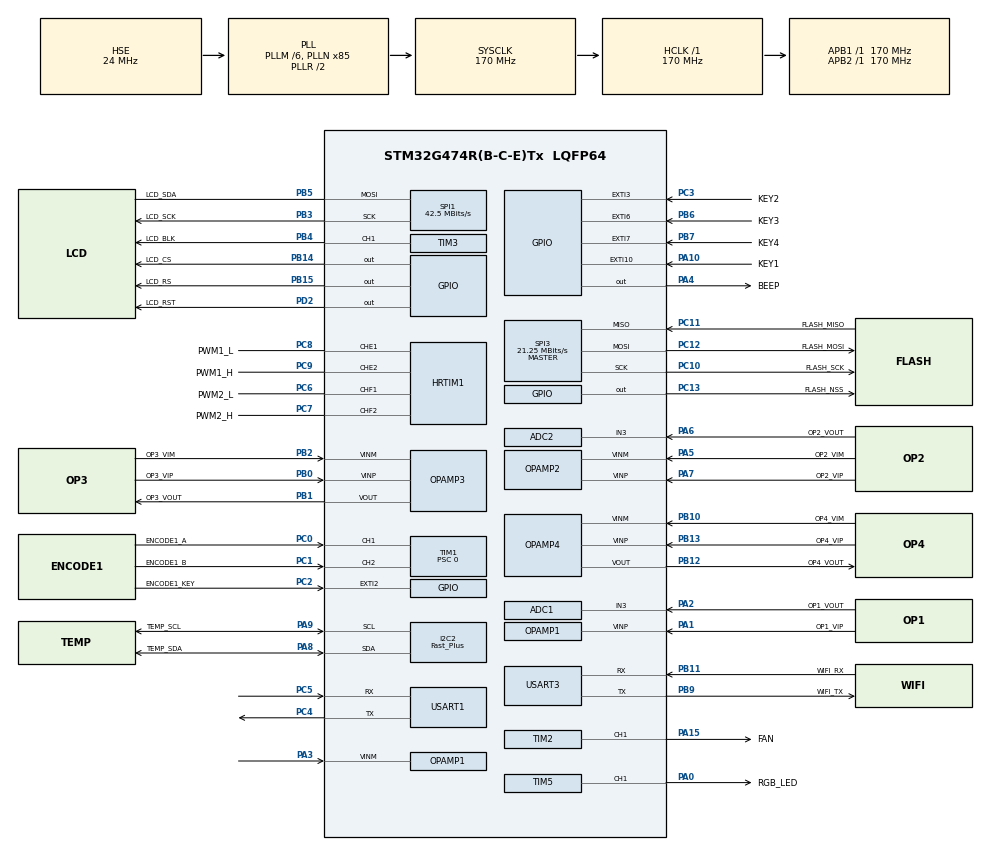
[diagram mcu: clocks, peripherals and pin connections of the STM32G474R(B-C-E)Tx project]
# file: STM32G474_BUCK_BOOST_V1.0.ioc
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ADC1.Channel-1\#ChannelRegularConversion=ADC_CHANNEL_3
ADC1.ContinuousConvMode=ENABLE
ADC1.DMAContinuousRequests=DISABLE
ADC1.EOCSelection=ADC_EOC_SEQ_CONV
ADC1.NbrOfConversion=1
ADC1.NbrOfConversionFlag=1
ADC1.OffsetNumber-1\#ChannelRegularConversion=ADC_OFFSET_NONE
ADC1.Rank-1\#ChannelRegularConversion=1
ADC1.SamplingTime-1\#ChannelRegularConversion=ADC_SAMPLETIME_47CYCLES_5
ADC1.master=1
ADC2.Channel-0\#ChannelRegularConversion=ADC_CHANNEL_3
ADC2.ContinuousConvMode=ENABLE
ADC2.DMAContinuousRequests=DISABLE
ADC2.NbrOfConversionFlag=1
ADC2.OffsetNumber-0\#ChannelRegularConversion=ADC_OFFSET_NONE
ADC2.Rank-0\#ChannelRegularConversion=1
ADC2.SamplingTime-0\#ChannelRegularConversion=ADC_SAMPLETIME_47CYCLES_5
ADC3.Channel-0\#ChannelRegularConversion=ADC_CHANNEL_1
ADC3.ContinuousConvMode=ENABLE
ADC3.DMAContinuousRequests=DISABLE
ADC3.NbrOfConversionFlag=1
ADC3.OffsetNumber-0\#ChannelRegularConversion=ADC_OFFSET_NONE
ADC3.Rank-0\#ChannelRegularConversion=1
ADC3.SamplingTime-0\#ChannelRegularConversion=ADC_SAMPLETIME_47CYCLES_5
ADC3.master=1
ADC4.Channel-0\#ChannelRegularConversion=ADC_CHANNEL_3
ADC4.ContinuousConvMode=ENABLE
ADC4.DMAContinuousRequests=DISABLE
ADC4.NbrOfConversionFlag=1
ADC4.OffsetNumber-0\#ChannelRegularConversion=ADC_OFFSET_NONE
ADC4.Rank-0\#ChannelRegularConversion=1
ADC4.SamplingTime-0\#ChannelRegularConversion=ADC_SAMPLETIME_47CYCLES_5
ADC5.Channel-0\#ChannelRegularConversion=ADC_CHANNEL_TEMPSENSOR_ADC5
ADC5.ContinuousConvMode=ENABLE
ADC5.DMAContinuousRequests=DISABLE
ADC5.EOCSelection=ADC_EOC_SINGLE_CONV
ADC5.NbrOfConversionFlag=1
ADC5.OffsetNumber-0\#ChannelRegularConversion=ADC_OFFSET_NONE
ADC5.Rank-0\#ChannelRegularConversion=1
ADC5.SamplingTime-0\#ChannelRegularConversion=ADC_SAMPLETIME_247CYCLES_5
Dma.ADC1.4.Direction=DMA_PERIPH_TO_MEMORY
Dma.ADC1.4.EventEnable=DISABLE
Dma.ADC1.4.Instance=DMA2_Channel1
Dma.ADC1.4.MemDataAlignment=DMA_MDATAALIGN_WORD
Dma.ADC1.4.MemInc=DMA_MINC_ENABLE
Dma.ADC1.4.Mode=DMA_NORMAL
Dma.ADC1.4.PeriphDataAlignment=DMA_PDATAALIGN_WORD
Dma.ADC1.4.PeriphInc=DMA_PINC_DISABLE
Dma.ADC1.4.Polarity=HAL_DMAMUX_REQ_GEN_RISING
Dma.ADC1.4.Priority=DMA_PRIORITY_VERY_HIGH
Dma.ADC1.4.RequestNumber=1
Dma.ADC1.4.SignalID=NONE
Dma.ADC1.4.SyncEnable=DISABLE
Dma.ADC1.4.SyncPolarity=HAL_DMAMUX_SYNC_NO_EVENT
Dma.ADC1.4.SyncRequestNumber=1
Dma.ADC1.4.SyncSignalID=NONE
Dma.ADC2.5.Direction=DMA_PERIPH_TO_MEMORY
Dma.ADC2.5.EventEnable=DISABLE
Dma.ADC2.5.Instance=DMA2_Channel2
Dma.ADC2.5.MemDataAlignment=DMA_MDATAALIGN_WORD
Dma.ADC2.5.MemInc=DMA_MINC_ENABLE
Dma.ADC2.5.Mode=DMA_NORMAL
Dma.ADC2.5.PeriphDataAlignment=DMA_PDATAALIGN_WORD
Dma.ADC2.5.PeriphInc=DMA_PINC_DISABLE
Dma.ADC2.5.Polarity=HAL_DMAMUX_REQ_GEN_RISING
Dma.ADC2.5.Priority=DMA_PRIORITY_VERY_HIGH
Dma.ADC2.5.RequestNumber=1
Dma.ADC2.5.SignalID=NONE
Dma.ADC2.5.SyncEnable=DISABLE
Dma.ADC2.5.SyncPolarity=HAL_DMAMUX_SYNC_NO_EVENT
Dma.ADC2.5.SyncRequestNumber=1
Dma.ADC2.5.SyncSignalID=NONE
Dma.ADC3.6.Direction=DMA_PERIPH_TO_MEMORY
Dma.ADC3.6.EventEnable=DISABLE
Dma.ADC3.6.Instance=DMA2_Channel3
Dma.ADC3.6.MemDataAlignment=DMA_MDATAALIGN_WORD
Dma.ADC3.6.MemInc=DMA_MINC_ENABLE
Dma.ADC3.6.Mode=DMA_NORMAL
Dma.ADC3.6.PeriphDataAlignment=DMA_PDATAALIGN_WORD
Dma.ADC3.6.PeriphInc=DMA_PINC_DISABLE
Dma.ADC3.6.Polarity=HAL_DMAMUX_REQ_GEN_RISING
Dma.ADC3.6.Priority=DMA_PRIORITY_VERY_HIGH
Dma.ADC3.6.RequestNumber=1
Dma.ADC3.6.SignalID=NONE
Dma.ADC3.6.SyncEnable=DISABLE
Dma.ADC3.6.SyncPolarity=HAL_DMAMUX_SYNC_NO_EVENT
Dma.ADC3.6.SyncRequestNumber=1
Dma.ADC3.6.SyncSignalID=NONE
Dma.ADC4.7.Direction=DMA_PERIPH_TO_MEMORY
Dma.ADC4.7.EventEnable=DISABLE
Dma.ADC4.7.Instance=DMA2_Channel4
Dma.ADC4.7.MemDataAlignment=DMA_MDATAALIGN_WORD
Dma.ADC4.7.MemInc=DMA_MINC_ENABLE
Dma.ADC4.7.Mode=DMA_NORMAL
Dma.ADC4.7.PeriphDataAlignment=DMA_PDATAALIGN_WORD
Dma.ADC4.7.PeriphInc=DMA_PINC_DISABLE
Dma.ADC4.7.Polarity=HAL_DMAMUX_REQ_GEN_RISING
Dma.ADC4.7.Priority=DMA_PRIORITY_VERY_HIGH
Dma.ADC4.7.RequestNumber=1
Dma.ADC4.7.SignalID=NONE
Dma.ADC4.7.SyncEnable=DISABLE
Dma.ADC4.7.SyncPolarity=HAL_DMAMUX_SYNC_NO_EVENT
Dma.ADC4.7.SyncRequestNumber=1
Dma.ADC4.7.SyncSignalID=NONE
Dma.ADC5.8.Direction=DMA_PERIPH_TO_MEMORY
Dma.ADC5.8.EventEnable=DISABLE
Dma.ADC5.8.Instance=DMA2_Channel5
Dma.ADC5.8.MemDataAlignment=DMA_MDATAALIGN_WORD
Dma.ADC5.8.MemInc=DMA_MINC_ENABLE
Dma.ADC5.8.Mode=DMA_NORMAL
Dma.ADC5.8.PeriphDataAlignment=DMA_PDATAALIGN_WORD
Dma.ADC5.8.PeriphInc=DMA_PINC_DISABLE
Dma.ADC5.8.Polarity=HAL_DMAMUX_REQ_GEN_RISING
Dma.ADC5.8.Priority=DMA_PRIORITY_VERY_HIGH
Dma.ADC5.8.RequestNumber=1
Dma.ADC5.8.SignalID=NONE
Dma.ADC5.8.SyncEnable=DISABLE
Dma.ADC5.8.SyncPolarity=HAL_DMAMUX_SYNC_NO_EVENT
Dma.ADC5.8.SyncRequestNumber=1
Dma.ADC5.8.SyncSignalID=NONE
Dma.I2C2_RX.10.Direction=DMA_PERIPH_TO_MEMORY
Dma.I2C2_RX.10.EventEnable=DISABLE
Dma.I2C2_RX.10.Instance=DMA1_Channel6
Dma.I2C2_RX.10.MemDataAlignment=DMA_MDATAALIGN_BYTE
Dma.I2C2_RX.10.MemInc=DMA_MINC_ENABLE
Dma.I2C2_RX.10.Mode=DMA_NORMAL
Dma.I2C2_RX.10.PeriphDataAlignment=DMA_PDATAALIGN_BYTE
Dma.I2C2_RX.10.PeriphInc=DMA_PINC_DISABLE
Dma.I2C2_RX.10.Polarity=HAL_DMAMUX_REQ_GEN_RISING
Dma.I2C2_RX.10.Priority=DMA_PRIORITY_LOW
Dma.I2C2_RX.10.RequestNumber=1
Dma.I2C2_RX.10.SignalID=NONE
Dma.I2C2_RX.10.SyncEnable=DISABLE
Dma.I2C2_RX.10.SyncPolarity=HAL_DMAMUX_SYNC_NO_EVENT
Dma.I2C2_RX.10.SyncRequestNumber=1
Dma.I2C2_RX.10.SyncSignalID=NONE
Dma.Request0=USART1_RX
Dma.Request1=SPI3_TX
Dma.Request10=I2C2_RX
Dma.Request2=SPI3_RX
Dma.Request3=SPI1_TX
Dma.Request4=ADC1
Dma.Request5=ADC2
Dma.Request6=ADC3
Dma.Request7=ADC4
Dma.Request8=ADC5
Dma.Request9=TIM5_CH1
Dma.SPI1_TX.3.Direction=DMA_MEMORY_TO_PERIPH
Dma.SPI1_TX.3.EventEnable=DISABLE
Dma.SPI1_TX.3.Instance=DMA1_Channel4
Dma.SPI1_TX.3.MemDataAlignment=DMA_MDATAALIGN_BYTE
Dma.SPI1_TX.3.MemInc=DMA_MINC_ENABLE
Dma.SPI1_TX.3.Mode=DMA_NORMAL
Dma.SPI1_TX.3.PeriphDataAlignment=DMA_PDATAALIGN_BYTE
Dma.SPI1_TX.3.PeriphInc=DMA_PINC_DISABLE
Dma.SPI1_TX.3.Polarity=HAL_DMAMUX_REQ_GEN_RISING
Dma.SPI1_TX.3.Priority=DMA_PRIORITY_HIGH
Dma.SPI1_TX.3.RequestNumber=1
Dma.SPI1_TX.3.SignalID=NONE
Dma.SPI1_TX.3.SyncEnable=DISABLE
Dma.SPI1_TX.3.SyncPolarity=HAL_DMAMUX_SYNC_NO_EVENT
Dma.SPI1_TX.3.SyncRequestNumber=1
Dma.SPI1_TX.3.SyncSignalID=NONE
Dma.SPI3_RX.2.Direction=DMA_PERIPH_TO_MEMORY
Dma.SPI3_RX.2.EventEnable=DISABLE
Dma.SPI3_RX.2.Instance=DMA1_Channel3
Dma.SPI3_RX.2.MemDataAlignment=DMA_MDATAALIGN_BYTE
Dma.SPI3_RX.2.MemInc=DMA_MINC_ENABLE
Dma.SPI3_RX.2.Mode=DMA_NORMAL
Dma.SPI3_RX.2.PeriphDataAlignment=DMA_PDATAALIGN_BYTE
Dma.SPI3_RX.2.PeriphInc=DMA_PINC_DISABLE
Dma.SPI3_RX.2.Polarity=HAL_DMAMUX_REQ_GEN_RISING
Dma.SPI3_RX.2.Priority=DMA_PRIORITY_HIGH
Dma.SPI3_RX.2.RequestNumber=1
Dma.SPI3_RX.2.SignalID=NONE
Dma.SPI3_RX.2.SyncEnable=DISABLE
Dma.SPI3_RX.2.SyncPolarity=HAL_DMAMUX_SYNC_NO_EVENT
Dma.SPI3_RX.2.SyncRequestNumber=1
Dma.SPI3_RX.2.SyncSignalID=NONE
Dma.SPI3_TX.1.Direction=DMA_MEMORY_TO_PERIPH
Dma.SPI3_TX.1.EventEnable=DISABLE
Dma.SPI3_TX.1.Instance=DMA1_Channel2
Dma.SPI3_TX.1.MemDataAlignment=DMA_MDATAALIGN_BYTE
Dma.SPI3_TX.1.MemInc=DMA_MINC_ENABLE
Dma.SPI3_TX.1.Mode=DMA_NORMAL
Dma.SPI3_TX.1.PeriphDataAlignment=DMA_PDATAALIGN_BYTE
Dma.SPI3_TX.1.PeriphInc=DMA_PINC_DISABLE
Dma.SPI3_TX.1.Polarity=HAL_DMAMUX_REQ_GEN_RISING
Dma.SPI3_TX.1.Priority=DMA_PRIORITY_HIGH
Dma.SPI3_TX.1.RequestNumber=1
Dma.SPI3_TX.1.SignalID=NONE
Dma.SPI3_TX.1.SyncEnable=DISABLE
Dma.SPI3_TX.1.SyncPolarity=HAL_DMAMUX_SYNC_NO_EVENT
Dma.SPI3_TX.1.SyncRequestNumber=1
Dma.SPI3_TX.1.SyncSignalID=NONE
Dma.TIM5_CH1.9.Direction=DMA_MEMORY_TO_PERIPH
Dma.TIM5_CH1.9.EventEnable=DISABLE
Dma.TIM5_CH1.9.Instance=DMA1_Channel5
Dma.TIM5_CH1.9.MemDataAlignment=DMA_MDATAALIGN_BYTE
Dma.TIM5_CH1.9.MemInc=DMA_MINC_ENABLE
Dma.TIM5_CH1.9.Mode=DMA_NORMAL
Dma.TIM5_CH1.9.PeriphDataAlignment=DMA_PDATAALIGN_BYTE
Dma.TIM5_CH1.9.PeriphInc=DMA_PINC_DISABLE
Dma.TIM5_CH1.9.Polarity=HAL_DMAMUX_REQ_GEN_RISING
Dma.TIM5_CH1.9.Priority=DMA_PRIORITY_LOW
Dma.TIM5_CH1.9.RequestNumber=1
Dma.TIM5_CH1.9.SignalID=NONE
Dma.TIM5_CH1.9.SyncEnable=DISABLE
Dma.TIM5_CH1.9.SyncPolarity=HAL_DMAMUX_SYNC_NO_EVENT
Dma.TIM5_CH1.9.SyncRequestNumber=1
Dma.TIM5_CH1.9.SyncSignalID=NONE
Dma.USART1_RX.0.Direction=DMA_PERIPH_TO_MEMORY
Dma.USART1_RX.0.EventEnable=DISABLE
Dma.USART1_RX.0.Instance=DMA1_Channel1
Dma.USART1_RX.0.MemDataAlignment=DMA_MDATAALIGN_BYTE
Dma.USART1_RX.0.MemInc=DMA_MINC_ENABLE
Dma.USART1_RX.0.Mode=DMA_NORMAL
Dma.USART1_RX.0.PeriphDataAlignment=DMA_PDATAALIGN_BYTE
Dma.USART1_RX.0.PeriphInc=DMA_PINC_DISABLE
Dma.USART1_RX.0.Polarity=HAL_DMAMUX_REQ_GEN_RISING
Dma.USART1_RX.0.Priority=DMA_PRIORITY_HIGH
Dma.USART1_RX.0.RequestNumber=1
Dma.USART1_RX.0.SignalID=NONE
Dma.USART1_RX.0.SyncEnable=DISABLE
Dma.USART1_RX.0.SyncPolarity=HAL_DMAMUX_SYNC_NO_EVENT
Dma.USART1_RX.0.SyncRequestNumber=1
Dma.USART1_RX.0.SyncSignalID=NONE
HRTIM1.ADCTrigger_Id1=__NULL
HRTIM1.CompareUnit1-Output_TE1TE2=HRTIM_COMPAREUNIT_1
HRTIM1.CompareUnit1-Output_TF1TF2=HRTIM_COMPAREUNIT_1
HRTIM1.CompareUnit3-Output_TE1TE2=HRTIM_COMPAREUNIT_3
HRTIM1.CompareValue1-Output_TE1TE2=15000
HRTIM1.CompareValue1-Output_TF1TF2=300
HRTIM1.CompareValue3-Output_TE1TE2=7500
HRTIM1.DeadTimeInsertion-Output_TE1TE2=HRTIM_TIMDEADTIMEINSERTION_ENABLED
HRTIM1.DeadTimeInsertion-Output_TF1TF2=HRTIM_TIMDEADTIMEINSERTION_ENABLED
HRTIM1.FallingLock-Output_TE1TE2=HRTIM_TIMDEADTIME_FALLINGLOCK_READONLY
HRTIM1.FallingLock-Output_TF1TF2=HRTIM_TIMDEADTIME_FALLINGLOCK_READONLY
HRTIM1.FallingSignLock-Output_TE1TE2=HRTIM_TIMDEADTIME_FALLINGSIGNLOCK_READONLY
HRTIM1.FallingSignLock-Output_TF1TF2=HRTIM_TIMDEADTIME_FALLINGSIGNLOCK_READONLY
HRTIM1.FallingValue-Output_TE1TE2=100
HRTIM1.FallingValue-Output_TF1TF2=100
HRTIM1.FaultLock-Output_TE1TE2=HRTIM_TIMFAULTLOCK_READONLY
HRTIM1.FaultLock-Output_TF1TF2=HRTIM_TIMFAULTLOCK_READONLY
HRTIM1.NumberResetSource1-Output_TE1TE2=1
HRTIM1.NumberResetSource1-Output_TF1TF2=1
HRTIM1.NumberResetTrigger-Output_TE1TE2=1
HRTIM1.NumberResetTrigger-Output_TF1TF2=1
HRTIM1.NumberSetSource1-Output_TE1TE2=1
HRTIM1.NumberSetSource1-Output_TF1TF2=1
HRTIM1.Periode_MASTER=30000
HRTIM1.Periode_TE=30000
HRTIM1.Periode_TF=30000
HRTIM1.PreloadEnable-MasterTimer=HRTIM_PRELOAD_ENABLED
HRTIM1.PreloadEnable-Output_TE1TE2=HRTIM_PRELOAD_ENABLED
HRTIM1.PreloadEnable-Output_TF1TF2=HRTIM_PRELOAD_ENABLED
HRTIM1.RepetitionUpdate-MasterTimer=HRTIM_UPDATEONREPETITION_ENABLED
HRTIM1.RepetitionUpdate-Output_TE1TE2=HRTIM_UPDATEONREPETITION_ENABLED
HRTIM1.RepetitionUpdate-Output_TF1TF2=HRTIM_UPDATEONREPETITION_ENABLED
HRTIM1.ResetOutput1_Source1-Output_TE1TE2=HRTIM_OUTPUTRESET_TIMCMP3
HRTIM1.ResetOutput1_Source1-Output_TF1TF2=HRTIM_OUTPUTRESET_TIMCMP1
HRTIM1.ResetTrigger1-Output_TE1TE2=HRTIM_TIMRESETTRIGGER_MASTER_PER
HRTIM1.ResetTrigger1-Output_TF1TF2=HRTIM_TIMRESETTRIGGER_MASTER_PER
HRTIM1.RisingLock-Output_TE1TE2=HRTIM_TIMDEADTIME_RISINGLOCK_READONLY
HRTIM1.RisingLock-Output_TF1TF2=HRTIM_TIMDEADTIME_RISINGLOCK_READONLY
HRTIM1.RisingSignLock-Output_TE1TE2=HRTIM_TIMDEADTIME_RISINGSIGNLOCK_READONLY
HRTIM1.RisingSignLock-Output_TF1TF2=HRTIM_TIMDEADTIME_RISINGSIGNLOCK_READONLY
HRTIM1.RisingValue-Output_TE1TE2=100
HRTIM1.RisingValue-Output_TF1TF2=100
HRTIM1.SetOutput1_Source1-Output_TE1TE2=HRTIM_OUTPUTSET_TIMCMP1
HRTIM1.SetOutput1_Source1-Output_TF1TF2=HRTIM_OUTPUTSET_TIMPER
I2C2.CustomTiming=Disabled
I2C2.I2C_Fall_Time=0
I2C2.I2C_Rise_Time=0
I2C2.I2C_Speed_Mode=I2C_Fast_Plus
I2C2.Speed=1000
I2C2.Timing=0x00802172
Mcu.Family=STM32G4
Mcu.Name=STM32G474R(B-C-E)Tx
Mcu.Package=LQFP64
NVIC.DMA1_Channel1_IRQn=true\:0\:0\:true\:false\:true\:false\:true\:true
NVIC.DMA1_Channel2_IRQn=true\:0\:0\:false\:false\:true\:false\:true\:true
NVIC.DMA1_Channel3_IRQn=true\:0\:0\:false\:false\:true\:false\:true\:true
NVIC.DMA1_Channel4_IRQn=true\:0\:0\:false\:false\:true\:false\:true\:true
NVIC.DMA1_Channel5_IRQn=true\:0\:0\:false\:false\:true\:false\:true\:true
NVIC.DMA1_Channel6_IRQn=true\:0\:0\:false\:false\:true\:false\:true\:true
NVIC.DMA2_Channel1_IRQn=true\:6\:0\:true\:false\:true\:false\:true\:true
NVIC.DMA2_Channel2_IRQn=true\:6\:0\:true\:false\:true\:false\:true\:true
NVIC.DMA2_Channel3_IRQn=true\:6\:0\:true\:false\:true\:false\:true\:true
NVIC.DMA2_Channel4_IRQn=true\:6\:0\:true\:false\:true\:false\:true\:true
NVIC.DMA2_Channel5_IRQn=true\:6\:0\:true\:false\:true\:false\:true\:true
NVIC.EXTI15_10_IRQn=true\:15\:0\:true\:false\:true\:true\:true\:true
NVIC.EXTI2_IRQn=true\:15\:0\:true\:false\:true\:true\:true\:true
NVIC.EXTI3_IRQn=true\:15\:0\:true\:false\:true\:true\:true\:true
NVIC.EXTI9_5_IRQn=true\:15\:0\:true\:false\:true\:true\:true\:true
NVIC.I2C2_EV_IRQn=true\:10\:0\:true\:false\:true\:true\:true\:true
NVIC.PriorityGroup=NVIC_PRIORITYGROUP_4
NVIC.SPI1_IRQn=true\:0\:0\:false\:false\:true\:true\:true\:true
NVIC.TIM1_CC_IRQn=true\:0\:0\:false\:false\:true\:true\:true\:true
NVIC.TIM1_TRG_COM_TIM17_IRQn=true\:4\:0\:true\:false\:true\:true\:true\:true
NVIC.TIM1_UP_TIM16_IRQn=true\:3\:0\:true\:false\:true\:true\:true\:true
NVIC.TIM6_DAC_IRQn=true\:1\:0\:true\:false\:true\:true\:true\:true
NVIC.TIM7_DAC_IRQn=true\:2\:0\:true\:false\:true\:true\:true\:true
NVIC.USART1_IRQn=true\:5\:0\:true\:false\:true\:true\:true\:true
NVIC.USART3_IRQn=true\:11\:0\:true\:false\:true\:true\:true\:true
PA0.GPIO_Label=RGB_LED
PA0.Signal=S_TIM5_CH1
PA1.GPIO_Label=OP1_VIP
PA1.Mode=Standalone
PA1.Signal=OPAMP1_VINP
PA10.GPIO_Label=KEY1
PA10.GPIO_ModeDefaultEXTI=GPIO_MODE_IT_FALLING
PA10.GPIO_PuPd=GPIO_PULLUP
PA10.Signal=GPXTI10
PA13.Mode=Serial_Wire
PA13.Signal=SYS_JTMS-SWDIO
PA14.Mode=Serial_Wire
PA14.Signal=SYS_JTCK-SWCLK
PA15.GPIO_Label=FAN
PA15.Signal=S_TIM2_CH1
PA2.GPIO_Label=OP1_VOUT
PA2.Signal=SharedAnalog_PA2
PA3.Mode=Standalone
PA3.Signal=OPAMP1_VINM
PA4.GPIO_Label=BEEP
PA4.Signal=GPIO_Output
PA5.GPIO_Label=OP2_VIM
PA5.Mode=Standalone
PA5.Signal=OPAMP2_VINM
PA6.GPIO_Label=OP2_VOUT
PA6.Signal=SharedAnalog_PA6
PA7.GPIO_Label=OP2_VIP
PA7.Mode=Standalone
PA7.Signal=OPAMP2_VINP
PA8.GPIO_Label=TEMP_SDA
PA8.GPIO_Speed=GPIO_SPEED_FREQ_HIGH
PA8.Mode=I2C
PA8.Signal=I2C2_SDA
PA9.GPIO_Label=TEMP_SCL
PA9.GPIO_Speed=GPIO_SPEED_FREQ_HIGH
PA9.Mode=I2C
PA9.Signal=I2C2_SCL
PB0.GPIO_Label=OP3_VIP
PB0.Mode=Standalone
PB0.Signal=OPAMP3_VINP
PB1.GPIO_Label=OP3_VOUT
PB1.Signal=SharedAnalog_PB1
PB10.GPIO_Label=OP4_VIM
PB10.Mode=Standalone
PB10.Signal=OPAMP4_VINM
PB11.GPIO_Label=WIFI_RX
PB11.Mode=Asynchronous
PB11.Signal=USART3_RX
PB12.GPIO_Label=OP4_VOUT
PB12.Signal=SharedAnalog_PB12
PB13.GPIO_Label=OP4_VIP
PB13.Mode=Standalone
PB13.Signal=OPAMP4_VINP
PB14.GPIO_Label=LCD_CS
PB14.GPIO_Speed=GPIO_SPEED_FREQ_VERY_HIGH
PB14.PinState=GPIO_PIN_SET
PB14.Signal=GPIO_Output
PB15.GPIO_Label=LCD_RS
PB15.GPIO_Speed=GPIO_SPEED_FREQ_VERY_HIGH
PB15.PinState=GPIO_PIN_SET
PB15.Signal=GPIO_Output
PB2.GPIO_Label=OP3_VIM
PB2.Mode=Standalone
PB2.Signal=OPAMP3_VINM
PB3.GPIO_Label=LCD_SCK
PB3.GPIO_Speed=GPIO_SPEED_FREQ_VERY_HIGH
PB3.Mode=Simplex_Bidirectional_Master
PB3.Signal=SPI1_SCK
PB4.GPIO_Label=LCD_BLK
PB4.Signal=S_TIM3_CH1
PB5.GPIO_Label=LCD_SDA
PB5.GPIO_Speed=GPIO_SPEED_FREQ_VERY_HIGH
PB5.Mode=Simplex_Bidirectional_Master
PB5.Signal=SPI1_MOSI
PB6.GPIO_Label=KEY3
PB6.GPIO_ModeDefaultEXTI=GPIO_MODE_IT_FALLING
PB6.GPIO_PuPd=GPIO_PULLUP
PB6.Signal=GPXTI6
PB7.GPIO_Label=KEY4
PB7.GPIO_ModeDefaultEXTI=GPIO_MODE_IT_FALLING
PB7.GPIO_PuPd=GPIO_PULLUP
PB7.Signal=GPXTI7
PB9.GPIO_Label=WIFI_TX
PB9.Mode=Asynchronous
PB9.Signal=USART3_TX
PC0.GPIO_Label=ENCODE1_A
PC0.GPIO_PuPd=GPIO_PULLUP
PC0.Signal=S_TIM1_CH1
PC1.GPIO_Label=ENCODE1_B
PC1.GPIO_PuPd=GPIO_PULLUP
PC1.Signal=S_TIM1_CH2
PC10.GPIO_Label=FLASH_SCK
PC10.GPIO_Speed=GPIO_SPEED_FREQ_VERY_HIGH
PC10.Mode=Full_Duplex_Master
PC10.Signal=SPI3_SCK
PC11.GPIO_Label=FLASH_MISO
PC11.GPIO_Speed=GPIO_SPEED_FREQ_VERY_HIGH
PC11.Mode=Full_Duplex_Master
PC11.Signal=SPI3_MISO
PC12.GPIO_Label=FLASH_MOSI
PC12.GPIO_Speed=GPIO_SPEED_FREQ_VERY_HIGH
PC12.Mode=Full_Duplex_Master
PC12.Signal=SPI3_MOSI
PC13.GPIO_Label=FLASH_NSS
PC13.GPIO_ModeDefaultOutputPP=GPIO_MODE_OUTPUT_PP
PC13.GPIO_PuPd=GPIO_PULLUP
PC13.GPIO_Speed=GPIO_SPEED_FREQ_LOW
PC13.PinState=GPIO_PIN_SET
PC13.Signal=GPIO_Output
PC14-OSC32_IN.Mode=LSE-External-Oscillator
PC14-OSC32_IN.Signal=RCC_OSC32_IN
PC15-OSC32_OUT.Mode=LSE-External-Oscillator
PC15-OSC32_OUT.Signal=RCC_OSC32_OUT
PC2.GPIO_Label=ENCODE1_KEY
PC2.GPIO_ModeDefaultEXTI=GPIO_MODE_IT_FALLING
PC2.GPIO_PuPd=GPIO_PULLUP
PC2.Signal=GPXTI2
PC3.GPIO_Label=KEY2
PC3.GPIO_ModeDefaultEXTI=GPIO_MODE_IT_FALLING
PC3.GPIO_PuPd=GPIO_PULLUP
PC3.Signal=GPXTI3
PC4.Mode=Asynchronous
PC4.Signal=USART1_TX
PC5.Mode=Asynchronous
PC5.Signal=USART1_RX
PC6.GPIO_Label=PWM2_L
PC6.Mode=Output_TF1TF2
PC6.Signal=HRTIM1_CHF1
PC7.GPIO_Label=PWM2_H
PC7.Mode=Output_TF1TF2
PC7.Signal=HRTIM1_CHF2
PC8.GPIO_Label=PWM1_L
PC8.Mode=Output_TE1TE2
PC8.Signal=HRTIM1_CHE1
PC9.GPIO_Label=PWM1_H
PC9.Mode=Output_TE1TE2
PC9.Signal=HRTIM1_CHE2
PD2.GPIO_Label=LCD_RST
PD2.GPIO_Speed=GPIO_SPEED_FREQ_VERY_HIGH
PD2.PinState=GPIO_PIN_RESET
PD2.Signal=GPIO_Output
PF0-OSC_IN.Mode=HSE-External-Oscillator
PF0-OSC_IN.Signal=RCC_OSC_IN
PF1-OSC_OUT.Mode=HSE-External-Oscillator
PF1-OSC_OUT.Signal=RCC_OSC_OUT
ProjectManager.HeapSize=0x400
ProjectManager.StackSize=0x400
ProjectManager.TargetToolchain=MDK-ARM V5.32
RCC.ADC12Freq_Value=170000000
RCC.ADC345Freq_Value=170000000
RCC.AHBFreq_Value=170000000
RCC.APB1Freq_Value=170000000
RCC.APB1TimFreq_Value=170000000
RCC.APB2Freq_Value=170000000
RCC.APB2TimFreq_Value=170000000
RCC.CortexFreq_Value=170000000
RCC.EXTERNAL_CLOCK_VALUE=12288000
RCC.EnbaleCSS=true
RCC.HCLKFreq_Value=170000000
RCC.HSE_VALUE=24000000
RCC.HSI48_VALUE=48000000
RCC.HSI_VALUE=16000000
RCC.PLLM=RCC_PLLM_DIV6
RCC.PLLN=85
RCC.PLLSourceVirtual=RCC_PLLSOURCE_HSE
RCC.SYSCLKFreq_VALUE=170000000
RCC.SYSCLKSource=RCC_SYSCLKSOURCE_PLLCLK
RCC.USBFreq_Value=170000000
RCC.VCOOutputFreq_Value=340000000
SH.S_TIM1_CH1.0=TIM1_CH1,Encoder_Interface
SH.S_TIM1_CH2.0=TIM1_CH2,Encoder_Interface
SH.S_TIM2_CH1.0=TIM2_CH1,PWM Generation1 CH1
SH.S_TIM3_CH1.0=TIM3_CH1,PWM Generation1 CH1
SH.S_TIM5_CH1.0=TIM5_CH1,PWM Generation1 CH1
SH.SharedAnalog_PA2.0=ADC1_IN3,IN3-Single-Ended
SH.SharedAnalog_PA2.1=OPAMP1_VOUT,Standalone
SH.SharedAnalog_PA6.0=ADC2_IN3,IN3-Single-Ended
SH.SharedAnalog_PA6.1=OPAMP2_VOUT,Standalone
SH.SharedAnalog_PB1.0=OPAMP3_VOUT,Standalone
SH.SharedAnalog_PB1.1=ADC3_IN1,IN1-Single-Ended
SH.SharedAnalog_PB12.0=OPAMP4_VOUT,Standalone
SH.SharedAnalog_PB12.1=ADC4_IN3,IN3-Single-Ended
SPI1.BaudRatePrescaler=SPI_BAUDRATEPRESCALER_4
SPI1.CalculateBaudRate=42.5 MBits/s
SPI1.DataSize=SPI_DATASIZE_8BIT
SPI1.Direction=SPI_DIRECTION_1LINE
SPI1.Mode=SPI_MODE_MASTER
SPI1.VirtualType=VM_MASTER
SPI3.BaudRatePrescaler=SPI_BAUDRATEPRESCALER_8
SPI3.CLKPhase=SPI_PHASE_1EDGE
SPI3.CLKPolarity=SPI_POLARITY_LOW
SPI3.CalculateBaudRate=21.25 MBits/s
SPI3.DataSize=SPI_DATASIZE_8BIT
SPI3.Direction=SPI_DIRECTION_2LINES
SPI3.Mode=SPI_MODE_MASTER
SPI3.VirtualType=VM_MASTER
TIM1.AutoReloadPreload=TIM_AUTORELOAD_PRELOAD_ENABLE
TIM1.EncoderMode=TIM_ENCODERMODE_TI12
TIM1.IC1Filter=2
TIM1.IC1Polarity=TIM_ICPOLARITY_RISING
TIM1.IC2Filter=2
TIM1.IC2Polarity=TIM_ICPOLARITY_RISING
TIM1.PeriodNoDither=2
TIM1.Prescaler=0
TIM16.PeriodNoDither=9999
TIM16.Prescaler=16999
TIM17.PeriodNoDither=1999
TIM17.Prescaler=16999
TIM2.Channel-PWM\ Generation1\ CH1=TIM_CHANNEL_1
TIM2.PeriodNoDither=1000-1
TIM2.Prescaler=170-1
TIM3.Channel-PWM\ Generation1\ CH1=TIM_CHANNEL_1
TIM3.PeriodNoDither=1000-1
TIM3.Prescaler=170-1
TIM5.Channel-PWM\ Generation1\ CH1=TIM_CHANNEL_1
TIM5.PeriodNoDither=214-1
TIM6.PeriodNoDither=999
TIM6.Prescaler=16999
TIM6.TIM_MasterOutputTrigger=TIM_TRGO_RESET
TIM7.PeriodNoDither=99
TIM7.Prescaler=16999
USART1.VirtualMode-Asynchronous=VM_ASYNC
USART3.Parity=PARITY_EVEN
USART3.VirtualMode-Asynchronous=VM_ASYNC
VP_ADC1_Vref_Input.Mode=IN-Vrefint
VP_ADC5_TempSens_Input.Mode=IN-TempSens
VP_HRTIM1_VS_hrtimMasterTimerNoOutput.Mode=MasterTimer
VP_SYS_VS_DBSignals.Mode=DisableDeadBatterySignals
VP_TIM16_VS_ClockSourceINT.Mode=Enable_Timer
VP_TIM17_VS_ClockSourceINT.Mode=Enable_Timer
VP_TIM2_VS_ClockSourceINT.Mode=Internal
VP_TIM5_VS_ClockSourceINT.Mode=Internal
VP_TIM6_VS_ClockSourceINT.Mode=Enable_Timer
VP_TIM7_VS_ClockSourceINT.Mode=Enable_Timer
board=custom

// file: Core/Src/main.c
/* USER CODE BEGIN Header */
/**
  ******************************************************************************
  * @file           : main.c
  * @brief          : STM32G474 BUCK-BOOST Digital Power Supply Main Program
  * @board          : STM32G474 BUCK-BOOST V1.0
  * @author         : Robot
  * @version        : V1.1
  * @date           : 2024/07/29
  ******************************************************************************
  * Hardware Resources:
  *   HRTIM1 TimerE/F  BUCK-BOOST carrier PWM 200kHz
  *   ADC1 IN3  PA2  + OPAMP1  -> Vin  input voltage sampling
  *   ADC2 IN3  PA6  + OPAMP2  -> Iin  input current sampling
  *   ADC3 IN1  PB1  + OPAMP3  -> Vout output voltage sampling
  *   ADC4 IN3  PB12 + OPAMP4  -> Iout output current sampling
  *   ADC5 internal             -> MCU junction temperature
  *   TIM6  100ms IRQ  ADC DMA trigger + TMP112 temperature read
  *   TIM7   1ms IRQ  PID control loop (CTRL_Run) - highest priority
  *   TIM16  50ms IRQ  UART debug data print
  *   TIM17 200ms IRQ  FAN speed adjust + WS2812B RGB refresh
  *   TIM1  encoder    rotary encoder pulse count (input device)
  *   TIM2  CH1 PWM    FAN PWM drive output
  *   TIM3  CH1 PWM    LCD backlight brightness
  *   TIM5  CH1 PWM    WS2812B RGB LED data signal
  *   I2C2  DMA        TMP112 board temperature sensor
  *   SPI1  1LINE DMA  LCD 1.69inch display, 42.5MHz
  *   SPI3  DMA        W25Qxx SPI NOR Flash
  *   USART1           debug UART, printf redirect, 115200bps
  *   USART3           reserved UART port
  *
  * Task Scheduling Architecture:
  *   IRQ layer (time-critical):
  *     TIM7 10ms -> PID control (highest priority, must not be delayed)
  *     TIM6 100ms-> ADC DMA + TMP112 I2C DMA (non-blocking)
  *     DMA  cplt -> ADC conversion + SPI LCD flush notify LVGL
  *   Main loop (background):
  *     lv_timer_handler() -> LVGL render, animation, widget timers
  *     ui_main_update()   -> refresh Vin/Vout/Iin/Iout every 200ms
  *
  * Copyright (c) 2024 STMicroelectronics. All rights reserved.
  ******************************************************************************
  */
/* USER CODE END Header */

#include "main.h"

#include "adc.h"

#include "dma.h"

#include "hrtim.h"

#include "i2c.h"

#include "opamp.h"

#include "spi.h"

#include "tim.h"

#include "usart.h"

#include "gpio.h"

/* USER CODE BEGIN Includes */

/* LCD_1in69.h included via function.h */
#include "function.h"
#include "callback.h"        /* board device init and hardware abstraction */

#include "config.h"          /* global config, data structs, extern declarations */

#include "spiflash.h"        /* W25Qxx SPI NOR Flash driver */

#include "lvgl.h"            /* LVGL 9.x graphics library */

#include "lv_port_disp.h"    /* LVGL display port: SPI1 DMA flush */

#include "lv_port_indev.h"   /* LVGL input device port: rotary encoder */

#include "ui_main.h"         /* LVGL dashboard UI create and update */

/* USER CODE END Includes */

/* USER CODE BEGIN PTD */

/* See config.h: BuckBoost_ModeTypeDef / ADC_SampleTypeDef / BD_TypeDef */

/* USER CODE END PTD */

/* USER CODE BEGIN PD */

/* See config.h: ADC_SampleNumber / ADC_VREF / ADC_VMULT / ADC_IMULT */

/* USER CODE END PD */

/* USER CODE BEGIN PM */

/**

  * @brief  Redirect printf to USART1 (blocking). Replace with DMA for production.

  */

int fputc(int ch, FILE *f)

{

    HAL_UART_Transmit(&huart1, (uint8_t *)&ch, 1, HAL_MAX_DELAY);

    return ch;

}

/* USER CODE END PM */

/* USER CODE BEGIN PV */

/* Globals defined in function.c: ADC_SampleTypeDef ADCSAP; BD_TypeDef BD; */

/* USER CODE END PV */

void SystemClock_Config(void);

/**

  * @brief  Application entry point (main function)

  * @note   Init sequence:

  *           1. HAL_Init()           -- SysTick/Flash/NVIC

  *           2. SystemClock_Config() -- HSE 12MHz -> PLL -> SYSCLK 170MHz

  *           3. MX_xxx_Init()        -- HAL peripheral init (DMA first)

  *           4. BoardDevice_Init()   -- ADC/LCD/Flash/PID board init

  *           5. LVGL init           -- display + input device + dashboard UI

  *           6. while(1)             -- LVGL handler + ui update every 200ms

  * @retval int

  */

int main(void)

{

    HAL_Init();

    SystemClock_Config();

    MX_GPIO_Init();

    MX_DMA_Init();

    MX_HRTIM1_Init();

    MX_OPAMP1_Init();

    MX_OPAMP2_Init();

    MX_OPAMP3_Init();

    MX_OPAMP4_Init();

    MX_TIM1_Init();

    MX_TIM2_Init();

    MX_TIM5_Init();

    MX_I2C2_Init();

    MX_USART1_UART_Init();

    MX_SPI3_Init();

    MX_USART3_UART_Init();

    MX_SPI1_Init();         /* SPI1 1LINE DMA: LCD 1.69", 42.5MHz, must init before LVGL */

    MX_ADC1_Init();

    MX_ADC2_Init();

    MX_ADC5_Init();

    MX_ADC3_Init();

    MX_ADC4_Init();

    MX_TIM6_Init();

    MX_TIM7_Init();

    MX_TIM16_Init();

    MX_TIM3_Init();         /* TIM3 CH1 PWM: LCD backlight brightness control */

    MX_TIM17_Init();

    /* USER CODE BEGIN 2 */

    /* ---------------------------------------------------------------
     * Step1: SPI1 + LCD hardware init
     *   - BackLight OFF
     *   - LCD_1IN69_InitReg (register sequence)
     *   - LCD_1IN69_Clear(BLACK)  wait DMA done
     *   - BackLight ON  <- user first sees pure black screen
     * --------------------------------------------------------------- */
    LCD_HW_Init();

    /* ---------------------------------------------------------------
     * Step2: LVGL init - LCD is guaranteed pure BLACK at this point
     * --------------------------------------------------------------- */
    lv_init();
    lv_port_disp_init();     /* register SPI1 DMA display driver */
    lv_port_indev_init();    /* register rotary encoder input    */

    /* ---------------------------------------------------------------
     * Step3: Build all UI pages and show START splash screen
     * --------------------------------------------------------------- */
    ui_main_init();          /* creates START/HOME/MENU, loads START */
    lv_timer_handler();      /* render frame 1 */
    lv_timer_handler();      /* render frame 2 */

    /* ---------------------------------------------------------------
     * Step4: Init remaining board peripherals
     *   (ADC/OPAMP/Flash/TMP/TIM6/7/16/17/PWM/Encoder/PID)
     *   LCD is NOT re-initialized here
     * --------------------------------------------------------------- */
    BoardDevice_Init();

    /* ---------------------------------------------------------------
     * Step5: Show ready, switch to HOME
     * --------------------------------------------------------------- */
    ui_splash_set_progress(100, "System Ready !");
    lv_timer_handler();
    HAL_Delay(800);

    ui_goto_home();
    lv_timer_handler();
    lv_timer_handler();
    printf("UI Ready - HOME page\r\n");

    /* USER CODE END 2 */

    static uint32_t ui_tick = 0;

    /* USER CODE BEGIN WHILE */

    while (1)
    {
        /* ---- ENC_KEY long/short press detection ---- */
        if (g_enc_key_held) {
            if (HAL_GetTick() - g_enc_key_press_tick >= 1000U) {
                /* Long press 2s: enter MENU from HOME, or back to HOME from MENU */
                g_enc_key_held = 0;
                g_enc_key_long_flag = 1;
            } else if (HAL_GPIO_ReadPin(ENCODE1_KEY_GPIO_Port, ENCODE1_KEY_Pin) == GPIO_PIN_SET) {
                /* Released before 2s = short press */
                g_enc_key_held = 0;
                g_enc_key_flag = 1;
            }
        }

        /* ---- Process input events (ISR flags -> main loop -> LVGL) ---- */
        uint8_t page = ui_get_page();

        if (g_enc_key_long_flag) {
            g_enc_key_long_flag = 0;
            if (page == UI_PAGE_HOME)  ui_goto_menu();
            else if (page == UI_PAGE_MENU) ui_goto_home();
        }
        if (g_enc_key_flag) {
            g_enc_key_flag = 0;
            if (page == UI_PAGE_HOME)       { ui_vout_toggle_adjust(); lv_port_encoder_key(); }
            else if (page == UI_PAGE_MENU)  { ui_menu_enter(); }
            else if (page == UI_PAGE_PID)   { ui_pid_cursor_move(); }
            else if (page == UI_PAGE_MODE)  { ui_work_confirm(); }
            else if (page == UI_PAGE_CVCC)  { ui_cvcc_confirm(); }
            else if (page == UI_PAGE_FAN)   { ui_fan_key(); }
        }
        if (g_key2_flag) {
            g_key2_flag = 0;
            if (page == UI_PAGE_HOME)       ui_vout_cursor_left();
            else if (page == UI_PAGE_MENU)  ui_goto_home();
            else if (page == UI_PAGE_PID)   ui_subpage_back();
            else if (page == UI_PAGE_MODE)  ui_subpage_back();
            else if (page == UI_PAGE_CVCC)  ui_subpage_back();
            else if (page == UI_PAGE_FAN)   { Config_Save(); ui_subpage_back(); }
            else                            ui_subpage_back();
        }
        if (g_key3_flag) {
            g_key3_flag = 0;
            if (page == UI_PAGE_HOME)       ui_vout_cursor_right();
            else if (page == UI_PAGE_PID)   ui_pid_next_param();
        }
        if (g_key1_flag) {
            g_key1_flag = 0;
            /* KEY1: pure output toggle */
            if (CTRL.HRTIMActive) {
                CTRL_Stop();
            } else {
                CTRL_Start();
            }
        }
        if (g_enc_diff != 0) {
            int8_t d = g_enc_diff;
            g_enc_diff = 0;
            if (page == UI_PAGE_HOME)       { if (d > 0) ui_vout_digit_inc(); else ui_vout_digit_dec(); }
            else if (page == UI_PAGE_MENU)  { if (d > 0) ui_menu_next();      else ui_menu_prev(); }
            else if (page == UI_PAGE_PID)   { ui_pid_adjust(d); }
            else if (page == UI_PAGE_MODE)  { ui_work_toggle(d); }
            else if (page == UI_PAGE_CVCC)  { ui_cvcc_toggle(d); }
            else if (page == UI_PAGE_FAN)    { ui_fan_enc(d); }
            else if (page == UI_PAGE_SCREEN) { ui_screen_enc(d); }
        }

        /* ---- LVGL render ---- */
        lv_timer_handler();

        /* ---- Dashboard refresh every 200ms ---- */
        if (HAL_GetTick() - ui_tick >= 200U) {
            ui_main_update();
            ui_tick = HAL_GetTick();
        }

        /* USER CODE END WHILE */

    }

}

/**
  * @brief  System clock config: HSE(12MHz)->PLL->SYSCLK=170MHz, CSS enabled
  * @note   HSE(12MHz) -> PLL -> SYSCLK = 170MHz
  * @retval None
  */
void SystemClock_Config(void)
{
    RCC_OscInitTypeDef RCC_OscInitStruct = {0};
    RCC_ClkInitTypeDef RCC_ClkInitStruct = {0};
    HAL_PWREx_ControlVoltageScaling(PWR_REGULATOR_VOLTAGE_SCALE1_BOOST);
    RCC_OscInitStruct.OscillatorType = RCC_OSCILLATORTYPE_HSE;
    RCC_OscInitStruct.HSEState       = RCC_HSE_ON;
    RCC_OscInitStruct.PLL.PLLState   = RCC_PLL_ON;
    RCC_OscInitStruct.PLL.PLLSource  = RCC_PLLSOURCE_HSE;
    RCC_OscInitStruct.PLL.PLLM       = RCC_PLLM_DIV6;
    RCC_OscInitStruct.PLL.PLLN       = 85;
    RCC_OscInitStruct.PLL.PLLP       = RCC_PLLP_DIV2;
    RCC_OscInitStruct.PLL.PLLQ       = RCC_PLLQ_DIV2;
    RCC_OscInitStruct.PLL.PLLR       = RCC_PLLR_DIV2;
    if (HAL_RCC_OscConfig(&RCC_OscInitStruct) != HAL_OK) Error_Handler();
    RCC_ClkInitStruct.ClockType      = RCC_CLOCKTYPE_HCLK|RCC_CLOCKTYPE_SYSCLK
                                     | RCC_CLOCKTYPE_PCLK1|RCC_CLOCKTYPE_PCLK2;
    RCC_ClkInitStruct.SYSCLKSource   = RCC_SYSCLKSOURCE_PLLCLK;
    RCC_ClkInitStruct.AHBCLKDivider  = RCC_SYSCLK_DIV1;
    RCC_ClkInitStruct.APB1CLKDivider = RCC_HCLK_DIV1;
    RCC_ClkInitStruct.APB2CLKDivider = RCC_HCLK_DIV1;
    if (HAL_RCC_ClockConfig(&RCC_ClkInitStruct, FLASH_LATENCY_4) != HAL_OK) Error_Handler();
    HAL_RCC_EnableCSS();
}

/**
  * @brief  Error handler: disable IRQ and loop, waiting for hardware reset
  */
void Error_Handler(void)
{
    __disable_irq();
    while (1) {}
}

#ifdef USE_FULL_ASSERT
void assert_failed(uint8_t *file, uint32_t line)
{
    /* USER CODE BEGIN 6 */
    printf("Assert failed: file %s, line %lu\r\n", file, (unsigned long)line);
    /* USER CODE END 6 */
}
#endif /* USE_FULL_ASSERT */
